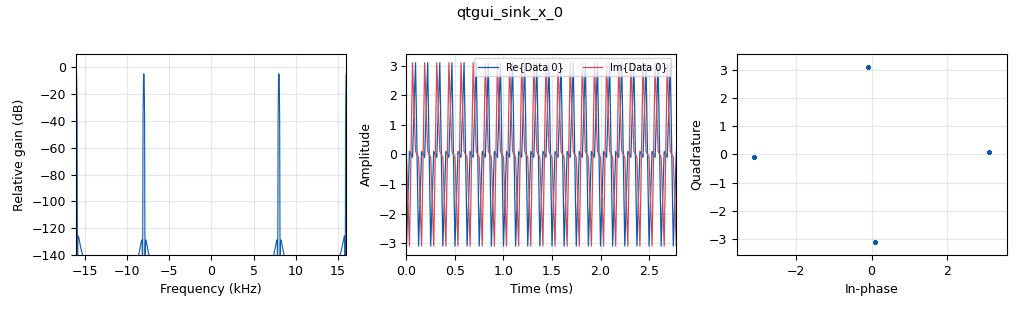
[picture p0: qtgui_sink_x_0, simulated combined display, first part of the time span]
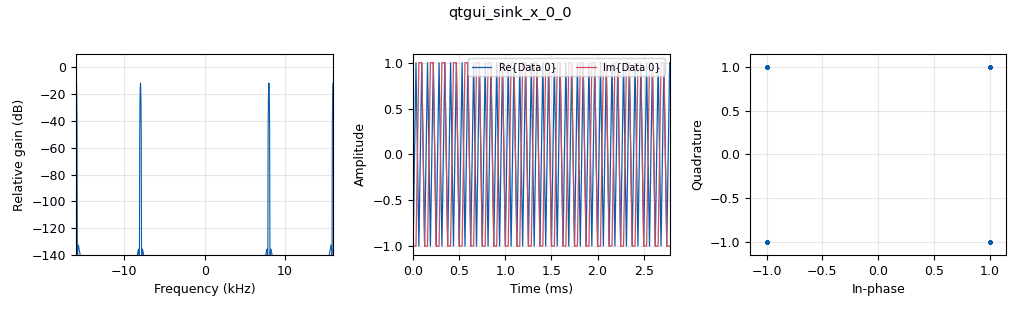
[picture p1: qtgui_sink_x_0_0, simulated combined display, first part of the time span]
options:
  parameters:
    generate_options: qt_gui
    id: test2
    output_language: python
    title: Not titled yet
  states: {}

blocks:
- name: H
  id: variable
  parameters:
    value: '[[0.7+0.5j, 0.9-2j]]'
  states: {}
- name: samp_rate
  id: variable
  parameters:
    value: '32000'
  states: {}
- name: variable_constellation_0
  id: variable_constellation
  parameters:
    precision: '8'
    type: qpsk
  states: {}
- name: blocks_add_xx_0
  id: blocks_add_xx
  parameters:
    type: complex
  states: {}
- name: blocks_multiply_const_vxx_0
  id: blocks_multiply_const_vxx
  parameters:
    const: H[0][0]
    type: complex
  states: {}
- name: blocks_multiply_const_vxx_1
  id: blocks_multiply_const_vxx
  parameters:
    const: H[0][1]
    type: complex
  states: {}
- name: blocks_multiply_const_xx_0
  id: blocks_multiply_const_xx
  parameters:
    const: '0.707'
    type: complex
  states: {}
- name: blocks_throttle_0
  id: blocks_throttle
  parameters:
    samples_per_second: samp_rate
    type: complex
  states: {}
- name: blocks_vector_source_x_0
  id: blocks_vector_source_x
  parameters:
    repeat: 'True'
    type: byte
    vector: (0,1,2,3,0,1,2,3,0,1,2,3,0,1,2,3)
  states: {}
- name: digital_constellation_encoder_bc_0
  id: digital_constellation_encoder_bc
  parameters:
    constellation: variable_constellation_0
  states: {}
- name: digital_corr_est_cc_0
  id: digital_corr_est_cc
  parameters:
    threshold: '0.9'
    threshold_method: digital.THRESHOLD_ABSOLUTE
  states: {}
- name: qtgui_sink_x_0
  id: qtgui_sink_x
  parameters:
    bw: samp_rate
    fc: '0'
    fftsize: '1024'
    type: complex
  states: {}
- name: qtgui_sink_x_0_0
  id: qtgui_sink_x
  parameters:
    bw: samp_rate
    fc: '0'
    fftsize: '1024'
    type: complex
  states: {}

connections:
- [blocks_add_xx_0, '0', qtgui_sink_x_0, '0']
- [blocks_multiply_const_vxx_0, '0', blocks_add_xx_0, '0']
- [blocks_multiply_const_vxx_1, '0', blocks_add_xx_0, '1']
- [blocks_multiply_const_xx_0, '0', blocks_throttle_0, '0']
- [blocks_multiply_const_xx_0, '0', qtgui_sink_x_0_0, '0']
- [blocks_throttle_0, '0', blocks_multiply_const_vxx_0, '0']
- [blocks_throttle_0, '0', blocks_multiply_const_vxx_1, '0']
- [blocks_vector_source_x_0, '0', digital_constellation_encoder_bc_0, '0']
- [digital_constellation_encoder_bc_0, '0', blocks_multiply_const_xx_0, '0']

metadata:
  file_format: 1
  grc_version: 3.10.2.0
